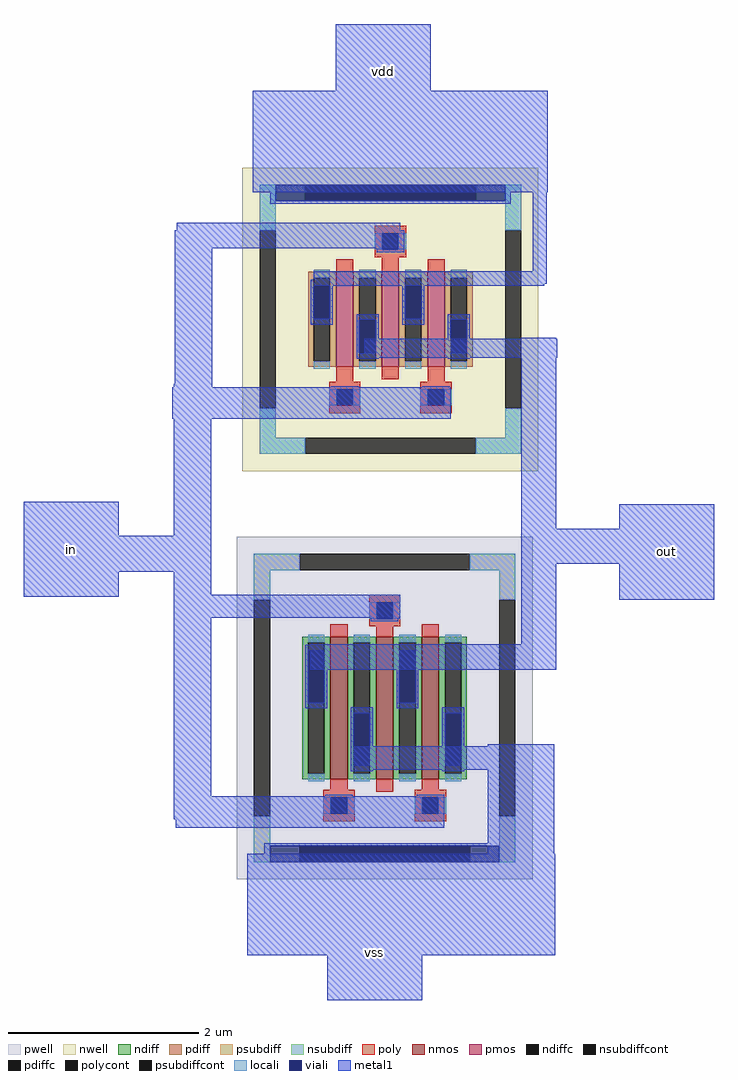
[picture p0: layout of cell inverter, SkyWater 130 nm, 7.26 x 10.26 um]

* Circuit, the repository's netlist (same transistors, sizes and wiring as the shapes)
.subckt inverter in out vss vdd
*.PININFO in:I out:O vss:B vdd:B
XM1 out in vss vss sky130_fd_pr__nfet_01v8 L=0.18 W=4.5 nf=3 ad='int((nf+1)/2) * W/nf * 0.29' as='int((nf+2)/2) * W/nf * 0.29'
+ pd='2*int((nf+1)/2) * (W/nf + 0.29)' ps='2*int((nf+2)/2) * (W/nf + 0.29)' nrd='0.29 / W' nrs='0.29 / W'
+ sa=0 sb=0 sd=0 mult=1 m=1 
XM2 out in vdd vdd sky130_fd_pr__pfet_01v8 L=0.18 W=3 nf=3 ad='int((nf+1)/2) * W/nf * 0.29' as='int((nf+2)/2) * W/nf * 0.29'
+ pd='2*int((nf+1)/2) * (W/nf + 0.29)' ps='2*int((nf+2)/2) * (W/nf + 0.29)' nrd='0.29 / W' nrs='0.29 / W'
+ sa=0 sb=0 sd=0 mult=1 m=1 
.ends
** flattened .save nodes
.end

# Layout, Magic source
magic
tech sky130A
magscale 1 2
<< metal1 >>
rect 176 1438 376 1578
rect 2 1224 622 1438
rect -158 1144 312 1160
rect -162 1106 312 1144
rect -162 822 -84 1106
rect 590 1058 620 1224
rect 130 1032 620 1058
rect 130 1028 614 1032
rect 566 916 640 918
rect 236 876 642 916
rect -164 814 -84 822
rect -168 748 418 814
rect -480 502 -280 574
rect -164 502 -86 748
rect -480 426 -86 502
rect -480 374 -280 426
rect -164 378 -86 426
rect 566 517 640 876
rect 772 517 972 568
rect 566 443 972 517
rect -164 330 312 378
rect -164 -46 -86 330
rect 566 274 640 443
rect 772 368 972 443
rect 122 220 640 274
rect 496 60 636 64
rect 212 10 636 60
rect -164 -94 404 -46
rect -160 -112 404 -94
rect 496 -166 636 10
rect -10 -380 638 -166
rect 158 -474 358 -380
use sky130_fd_pr__nfet_01v8_BZBQCZ  XM1
transform 1 0 279 0 1 140
box -311 -360 311 360
use sky130_fd_pr__pfet_01v8_UTJXZH  XM2
transform 1 0 291 0 1 957
box -311 -319 311 319
<< labels >>
flabel metal1 772 368 972 568 0 FreeSans 256 0 0 0 out
port 1 nsew
flabel metal1 176 1378 376 1578 0 FreeSans 256 0 0 0 vdd
port 3 nsew
flabel metal1 158 -474 358 -274 0 FreeSans 256 0 0 0 vss
port 2 nsew
flabel metal1 -480 374 -280 574 0 FreeSans 256 0 0 0 in
port 0 nsew
<< end >>

# cell sky130_fd_pr__nfet_01v8_BZBQCZ: kit device sky130_fd_pr__nfet_01v8, w 1.5 l 0.18 m 1 nf 3 diffcov 100 polycov 100 guard 1 glc 1 grc 1 gtc 1 gbc 1 tbcov 100 rlcov 100 topc 1 botc 1 poverlap 0 doverlap 1 lmin 0.15 wmin 0.42 compatible {sky130_fd_pr__nfet_01v8 sky130_fd_pr__nfet_01v8_lvt sky130_fd_bs_flash__special_sonosfet_star sky130_fd_pr__nfet_g5v0d10v5 sky130_fd_pr__nfet_05v0_nvt sky130_fd_pr__nfet_03v3_nvt} full_metal 1 viasrc +40 viadrn -40 viagate 100 viagb 100 viagr 0 viagl 0 viagt 0

# cell sky130_fd_pr__pfet_01v8_UTJXZH: kit device sky130_fd_pr__pfet_01v8, w 1.0 l 0.18 m 1 nf 3 diffcov 100 polycov 100 guard 1 glc 1 grc 1 gtc 1 gbc 1 tbcov 100 rlcov 100 topc 1 botc 1 poverlap 0 doverlap 1 lmin 0.15 wmin 0.42 compatible {sky130_fd_pr__pfet_01v8 sky130_fd_pr__pfet_01v8_lvt sky130_fd_pr__pfet_01v8_hvt sky130_fd_pr__pfet_g5v0d10v5} full_metal 1 viasrc +40 viadrn -40 viagate 100 viagb 0 viagr 0 viagl 0 viagt 100
